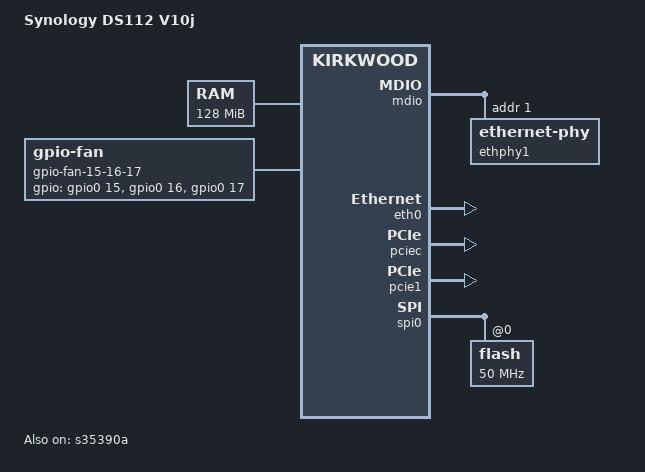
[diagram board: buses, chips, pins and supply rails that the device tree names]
// SPDX-License-Identifier: GPL-2.0
/*
 * Device tree file for Synology DS112-v10j
 * Copyright (C) 2025-2026, Tony Dinh  <mibodhi@gmail.com>
 *
 */

/dts-v1/;

#include "kirkwood.dtsi"
#include "kirkwood-6282.dtsi"
#include "kirkwood-synology.dtsi"

/ {
	model = "Synology DS112 V10j";
	compatible = "synology,ds112", "marvell,kirkwood";

	memory {
		device_type = "memory";
		reg = <0x00000000 0x8000000>;
	};

	chosen {
		bootargs = "console=ttyS0,115200n8";
		stdout-path = &uart0;
	};

	regulators-hdd-30-2 {
		status = "okay";
	};

	gpio-fan-15-16-17 {
		status = "okay";
		compatible = "gpio-fan";
		pinctrl-0 = <&pmx_fanctrl_15 &pmx_fanctrl_16 &pmx_fanctrl_17>;
		pinctrl-names = "default";
		gpios = <&gpio0 15 GPIO_ACTIVE_HIGH
			 &gpio0 16 GPIO_ACTIVE_HIGH
			 &gpio0 17 GPIO_ACTIVE_HIGH>;
		gpio-fan,speed-map =
				<   0 0>,
				<2500 1>,
				<3100 2>,
				<3800 3>,
				<4600 4>,
				<4800 5>,
				<4900 6>,
				<5000 7>;
	};
};

&mdio {
	status = "okay";

	ethphy1: ethernet-phy@1 {
		device_type = "ethernet-phy";
		reg = <1>;
	};
};

&eth0 {
	status = "okay";

	ethernet0-port@0 {
		phy-handle = <&ethphy1>;
	};
};

/* U-Boot uses s35392a which also works for s35390a */
&s35390a {
	status = "okay";
	compatible = "sii,s35392a";
	reg = <0x30>;
};

&pciec {
	status = "okay";
};

&pcie1 {
	status = "okay";
};

&spi0 {
	flash@0 {
		spi-max-frequency = <50000000>;
	};
};
